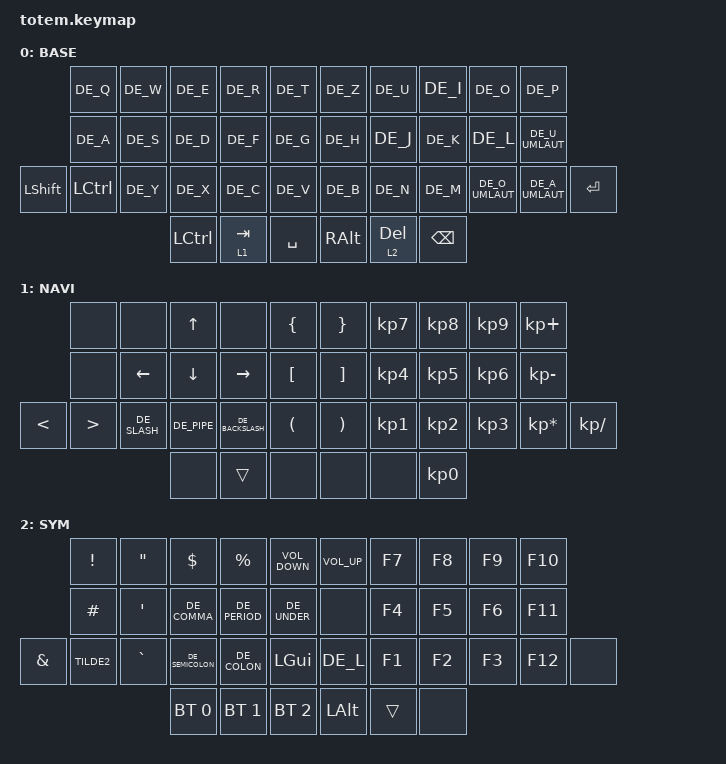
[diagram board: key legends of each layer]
//
//                                                        ▀▀▀▀▀     ▀▀▀▀▀          ▀▀█▀▀
//                                                        ▄▀▀▀▄  ▄  ▄▀▀▀▄  ▄  ▄▀▀▀▄  █  ▄▀▀▀▄
//                                                        █   █  █  █   █  █  █   █  █  █   █
//                                                         ▀▀▀   █   ▀▀▀   █   ▀▀▀   ▀   ▀▀▀
//                                                               █      ▄▄▄█▄▄▄    █   █  
//                                                               ▀      █  █  █     █▄█
//                                                             ▀▀▀▀▀    █  █  █      ▀
//                                                                      ▀  ▀  ▀
//
// ▄▄▄▄▄▄▄▄▄▄▄▄▄▄▄▄▄▄▄▄▄▄▄▄▄▄▄▄▄▄▄▄▄▄▄▄▄▄▄▄▄▄▄▄▄▄▄▄▄▄▄▄▄▄▄▄▄▄▄▄▄▄▄▄▄▄▄▄▄▄▄▄▄▄▄▄▄▄▄▄▄▄▄▄▄▄▄▄▄▄▄▄▄▄▄▄▄▄▄▄▄▄▄▄▄▄▄▄▄▄▄▄▄▄▄▄▄▄▄▄▄▄▄▄▄▄▄▄▄▄▄▄▄▄▄▄▄▄▄▄▄▄▄▄▄▄▄▄▄

#include <behaviors.dtsi>
#include <dt-bindings/zmk/bt.h>
#include <dt-bindings/zmk/keys.h>
#include "keys_de.h"

#define BASE 0
#define NAV  1
#define SYM  2
#define ADJ  3
#define TVP1 4
#define TVP2 5

&mt {
    quick-tap-ms = <100>;
    global-quick-tap;
    flavor = "tap-preferred";
    tapping-term-ms = <170>;
};

/ {
    combos {
        compatible = "zmk,combos";

        combo_esc {
            timeout-ms = <50>;
            key-positions = <0 1>;
            bindings = <&kp ESC>;
        };
    };

    keymap {
        compatible = "zmk,keymap";

        // ▄▄▄▄▄▄▄▄▄▄▄▄▄▄▄▄▄▄▄▄▄▄▄▄▄▄▄▄▄▄▄▄▄▄▄▄▄▄▄▄▄▄▄▄▄▄▄▄▄▄▄▄▄▄▄▄▄▄▄▄▄▄▄▄▄▄▄▄▄▄▄▄▄▄▄▄▄▄▄▄▄▄▄▄▄▄▄▄▄▄▄▄▄▄▄▄▄▄▄▄▄▄▄▄▄▄▄▄▄▄▄▄▄▄▄▄▄▄▄▄▄▄▄▄▄▄▄▄▄▄▄▄▄▄▄▄▄▄▄▄▄▄▄▄▄▄▄▄▄

        base_layer {
            // ┏━━━━━━━━━━━━━━━━━━━━━━━━━━━━━━━━━━━━━━━┓

            label = "BASE";

            // ┗━━━━━━━━━━━━━━━━━━━━━━━━━━━━━━━━━━━━━━━┛
            //             ┏━━━━━━━━━━━┳━━━━━━━━━━━┳━━━━━━━━━━━┳━━━━━━━━━━━┳━━━━━━━━━━━┓   ┏━━━━━━━━━━━┳━━━━━━━━━━━┳━━━━━━━━━━━┳━━━━━━━━━━━┳━━━━━━━━━━━┓
            //             ┃     Q     ┃     W     ┃     F     ┃     P     ┃     G     ┃   ┃     J     ┃     L     ┃     U     ┃     Y     ┃     ;     ┃
            //             ┣━━━━━━━━━━━╋━━━━━━━━━━━╋━━━━━━━━━━━╋━━━━━━━━━━━╋━━━━━━━━━━━┫   ┣━━━━━━━━━━━╋━━━━━━━━━━━╋━━━━━━━━━━━╋━━━━━━━━━━━╋━━━━━━━━━━━┫
            //             ┃     A     ┃     R     ┃     S     ┃     T     ┃     D     ┃   ┃     H     ┃     N     ┃     E     ┃     I     ┃     O     ┃
            // ┏━━━━━━━━━━━╋━━━━━━━━━━━╋━━━━━━━━━━━╋━━━━━━━━━━━╋━━━━━━━━━━━╋━━━━━━━━━━━┫   ┣━━━━━━━━━━━╋━━━━━━━━━━━╋━━━━━━━━━━━╋━━━━━━━━━━━╋━━━━━━━━━━━╋━━━━━━━━━━━┓
            // ┃     Q     ┃     Z     ┃     X     ┃     C     ┃     V     ┃     B     ┃   ┃     K     ┃     M     ┃     ,     ┃     .     ┃     /     ┃     \     ┃
            // ┗━━━━━━━━━━━┻━━━━━━━━━━━┻━━━━━━━━━━━╋━━━━━━━━━━━╋━━━━━━━━━━━╋━━━━━━━━━━━┫   ┣━━━━━━━━━━━╋━━━━━━━━━━━╋━━━━━━━━━━━╋━━━━━━━━━━━┻━━━━━━━━━━━┻━━━━━━━━━━━┛
            //                                     ┃    DEL    ┃    TAB    ┃    SPC    ┃   ┃   ENTER   ┃           ┃   BSPC    ┃
            //                                     ┗━━━━━━━━━━━┻━━━━━━━━━━━┻━━━━━━━━━━━┛   ┗━━━━━━━━━━━┻━━━━━━━━━━━┻━━━━━━━━━━━┛

            bindings = <
                &kp DE_Q   &kp DE_W  &kp DE_E   &kp DE_R   &kp DE_T     &kp DE_Z       &kp DE_U      &kp DE_I  &kp DE_O         &kp DE_P
                &kp DE_A   &kp DE_S  &kp DE_D   &kp DE_F   &kp DE_G     &kp DE_H       &kp DE_J      &kp DE_K  &kp DE_L         &kp DE_U_UMLAUT
&kp LEFT_SHIFT  &kp LCTRL  &kp DE_Y  &kp DE_X   &kp DE_C   &kp DE_V     &kp DE_B       &kp DE_N      &kp DE_M  &kp DE_O_UMLAUT  &kp DE_A_UMLAUT  &kp ENTER
                                     &kp LCTRL  &lt 1 TAB  &kp SPACE    &kp RIGHT_ALT  &lt 2 DELETE  &kp BSPC
            >;
        };

        // ▄▄▄▄▄▄▄▄▄▄▄▄▄▄▄▄▄▄▄▄▄▄▄▄▄▄▄▄▄▄▄▄▄▄▄▄▄▄▄▄▄▄▄▄▄▄▄▄▄▄▄▄▄▄▄▄▄▄▄▄▄▄▄▄▄▄▄▄▄▄▄▄▄▄▄▄▄▄▄▄▄▄▄▄▄▄▄▄▄▄▄▄▄▄▄▄▄▄▄▄▄▄▄▄▄▄▄▄▄▄▄▄▄▄▄▄▄▄▄▄▄▄▄▄▄▄▄▄▄▄▄▄▄▄▄▄▄▄▄▄▄▄▄▄▄▄▄▄▄

        nav_layer {
            // ┏━━━━━━━━━━━━━━━━━━━━━━━━━━━━━━━━━━━━━━━┓

            label = "NAVI";

            // ┗━━━━━━━━━━━━━━━━━━━━━━━━━━━━━━━━━━━━━━━┛
            //             ┏━━━━━━━━━━━┳━━━━━━━━━━━┳━━━━━━━━━━━┳━━━━━━━━━━━┳━━━━━━━━━━━┓   ┏━━━━━━━━━━━┳━━━━━━━━━━━┳━━━━━━━━━━━┳━━━━━━━━━━━┳━━━━━━━━━━━┓
            //             ┃           ┃           ┃     UP    ┃           ┃     {     ┃   ┃     }     ┃     7     ┃     8     ┃     9     ┃     +     ┃
            //             ┣━━━━━━━━━━━╋━━━━━━━━━━━╋━━━━━━━━━━━╋━━━━━━━━━━━╋━━━━━━━━━━━┫   ┣━━━━━━━━━━━╋━━━━━━━━━━━╋━━━━━━━━━━━╋━━━━━━━━━━━╋━━━━━━━━━━━┫
            //             ┃   SHIFT   ┃   LEFT    ┃    DOWN   ┃   RIGHT   ┃     [     ┃   ┃     ]     ┃     4     ┃     5     ┃     6     ┃     -     ┃
            // ┏━━━━━━━━━━━╋━━━━━━━━━━━╋━━━━━━━━━━━╋━━━━━━━━━━━╋━━━━━━━━━━━╋━━━━━━━━━━━┫   ┣━━━━━━━━━━━╋━━━━━━━━━━━╋━━━━━━━━━━━╋━━━━━━━━━━━╋━━━━━━━━━━━╋━━━━━━━━━━━┓
            // ┃           ┃           ┃   P UP    ┃  C LOCK   ┃  P DOWN   ┃     (     ┃   ┃     )     ┃     1     ┃     2     ┃     3     ┃     *     ┃           ┃
            // ┗━━━━━━━━━━━┻━━━━━━━━━━━┻━━━━━━━━━━━╋━━━━━━━━━━━╋━━━━━━━━━━━╋━━━━━━━━━━━┫   ┣━━━━━━━━━━━╋━━━━━━━━━━━╋━━━━━━━━━━━╋━━━━━━━━━━━┻━━━━━━━━━━━┻━━━━━━━━━━━┛
            //                                     ┃           ┃    TAB    ┃    SPC    ┃   ┃    DEL    ┃     0     ┃           ┃
            //                                     ┗━━━━━━━━━━━┻━━━━━━━━━━━┻━━━━━━━━━━━┛   ┗━━━━━━━━━━━┻━━━━━━━━━━━┻━━━━━━━━━━━┛

            bindings = <
               &none             &none         &kp UP       &none             &kp LBRC    &kp RBRC  &kp KP_N7  &kp KP_N8        &kp KP_N9  &kp KP_PLUS
               &none             &kp LEFT      &kp DOWN     &kp RIGHT         &kp LBKT    &kp RBKT  &kp KP_N4  &kp KP_N5        &kp KP_N6  &kp KP_MINUS
&kp LESS_THAN  &kp GREATER_THAN  &kp DE_SLASH  &kp DE_PIPE  &kp DE_BACKSLASH  &kp LPAR    &kp RPAR  &kp KP_N1  &kp KP_N2        &kp KP_N3  &kp KP_MULTIPLY  &kp KP_DIVIDE
                                               &none        &trans            &none       &none     &none      &kp KP_NUMBER_0
            >;
        };

        // ▄▄▄▄▄▄▄▄▄▄▄▄▄▄▄▄▄▄▄▄▄▄▄▄▄▄▄▄▄▄▄▄▄▄▄▄▄▄▄▄▄▄▄▄▄▄▄▄▄▄▄▄▄▄▄▄▄▄▄▄▄▄▄▄▄▄▄▄▄▄▄▄▄▄▄▄▄▄▄▄▄▄▄▄▄▄▄▄▄▄▄▄▄▄▄▄▄▄▄▄▄▄▄▄▄▄▄▄▄▄▄▄▄▄▄▄▄▄▄▄▄▄▄▄▄▄▄▄▄▄▄▄▄▄▄▄▄▄▄▄▄▄▄▄▄▄▄▄▄

        sim_layer {
            // ┏━━━━━━━━━━━━━━━━━━━━━━━━━━━━━━━━━━━━━━━┓

            label = "SYM";

            // ┗━━━━━━━━━━━━━━━━━━━━━━━━━━━━━━━━━━━━━━━┛
            //             ┏━━━━━━━━━━━┳━━━━━━━━━━━┳━━━━━━━━━━━┳━━━━━━━━━━━┳━━━━━━━━━━━┓   ┏━━━━━━━━━━━┳━━━━━━━━━━━┳━━━━━━━━━━━┳━━━━━━━━━━━┳━━━━━━━━━━━┓
            //             ┃     !     ┃     @     ┃     #     ┃     $     ┃     %     ┃   ┃     ˆ     ┃     &     ┃     Ü     ┃     '     ┃     "     ┃
            //             ┣━━━━━━━━━━━╋━━━━━━━━━━━╋━━━━━━━━━━━╋━━━━━━━━━━━╋━━━━━━━━━━━┫   ┣━━━━━━━━━━━╋━━━━━━━━━━━╋━━━━━━━━━━━╋━━━━━━━━━━━╋━━━━━━━━━━━┫
            //             ┃     Ä     ┃           ┃    SZ     ┃           ┃           ┃   ┃   MUTE    ┃   YEN     ┃   EURO    ┃  POUND    ┃     Ö     ┃
            // ┏━━━━━━━━━━━╋━━━━━━━━━━━╋━━━━━━━━━━━╋━━━━━━━━━━━╋━━━━━━━━━━━╋━━━━━━━━━━━┫   ┣━━━━━━━━━━━╋━━━━━━━━━━━╋━━━━━━━━━━━╋━━━━━━━━━━━╋━━━━━━━━━━━╋━━━━━━━━━━━┓
            // ┃           ┃  EMAIL1   ┃  EMAIL2   ┃           ┃           ┃           ┃   ┃   VOL-    ┃   VOL+    ┃   LAST    ┃   NEXT    ┃     \     ┃           ┃
            // ┗━━━━━━━━━━━┻━━━━━━━━━━━┻━━━━━━━━━━━╋━━━━━━━━━━━╋━━━━━━━━━━━╋━━━━━━━━━━━┫   ┣━━━━━━━━━━━╋━━━━━━━━━━━╋━━━━━━━━━━━╋━━━━━━━━━━━┻━━━━━━━━━━━┻━━━━━━━━━━━┛
            //                                     ┃           ┃    GIF    ┃    ADJ    ┃   ┃           ┃           ┃           ┃
            //                                     ┗━━━━━━━━━━━┻━━━━━━━━━━━┻━━━━━━━━━━━┛   ┗━━━━━━━━━━━┻━━━━━━━━━━━┻━━━━━━━━━━━┛

            bindings = <
               &kp EXCL    &kp DOUBLE_QUOTES  &kp DOLLAR        &kp PERCENT    &kp C_VOLUME_DOWN    &kp C_VOLUME_UP  &kp F7  &kp F8  &kp F9  &kp F10
               &kp POUND   &kp APOSTROPHE     &kp DE_COMMA      &kp DE_PERIOD  &kp DE_UNDER         &none            &kp F4  &kp F5  &kp F6  &kp F11
&kp AMPERSAND  &kp TILDE2  &kp GRAVE          &kp DE_SEMICOLON  &kp DE_COLON   &kp LEFT_GUI         &kp DE_L         &kp F1  &kp F2  &kp F3  &kp F12  &none
                                              &bt BT_SEL 0      &bt BT_SEL 1   &bt BT_SEL 2         &kp LEFT_ALT     &trans  &none
            >;
        };

        // ▄▄▄▄▄▄▄▄▄▄▄▄▄▄▄▄▄▄▄▄▄▄▄▄▄▄▄▄▄▄▄▄▄▄▄▄▄▄▄▄▄▄▄▄▄▄▄▄▄▄▄▄▄▄▄▄▄▄▄▄▄▄▄▄▄▄▄▄▄▄▄▄▄▄▄▄▄▄▄▄▄▄▄▄▄▄▄▄▄▄▄▄▄▄▄▄▄▄▄▄▄▄▄▄▄▄▄▄▄▄▄▄▄▄▄▄▄▄▄▄▄▄▄▄▄▄▄▄▄▄▄▄▄▄▄▄▄▄▄▄▄▄▄▄▄▄▄▄▄
        // ▄▄▄▄▄▄▄▄▄▄▄▄▄▄▄▄▄▄▄▄▄▄▄▄▄▄▄▄▄▄▄▄▄▄▄▄▄▄▄▄▄▄▄▄▄▄▄▄▄▄▄▄▄▄▄▄▄▄▄▄▄▄▄▄▄▄▄▄▄▄▄▄▄▄▄▄▄▄▄▄▄▄▄▄▄▄▄▄▄▄▄▄▄▄▄▄▄▄▄▄▄▄▄▄▄▄▄▄▄▄▄▄▄▄▄▄▄▄▄▄▄▄▄▄▄▄▄▄▄▄▄▄▄▄▄▄▄▄▄▄▄▄▄▄▄▄▄▄▄
        // ▄▄▄▄▄▄▄▄▄▄▄▄▄▄▄▄▄▄▄▄▄▄▄▄▄▄▄▄▄▄▄▄▄▄▄▄▄▄▄▄▄▄▄▄▄▄▄▄▄▄▄▄▄▄▄▄▄▄▄▄▄▄▄▄▄▄▄▄▄▄▄▄▄▄▄▄▄▄▄▄▄▄▄▄▄▄▄▄▄▄▄▄▄▄▄▄▄▄▄▄▄▄▄▄▄▄▄▄▄▄▄▄▄▄▄▄▄▄▄▄▄▄▄▄▄▄▄▄▄▄▄▄▄▄▄▄▄▄▄▄▄▄▄▄▄▄▄▄▄
    };
};
